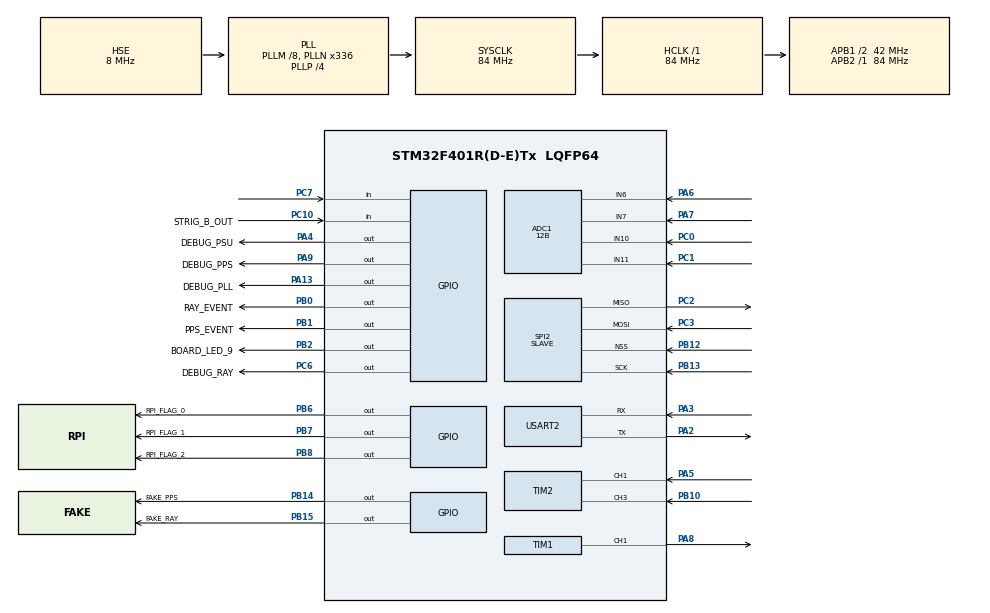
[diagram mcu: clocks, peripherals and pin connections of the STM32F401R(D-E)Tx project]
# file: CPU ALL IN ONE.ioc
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ADC1.Channel-0\#ChannelRegularConversion=ADC_CHANNEL_10
ADC1.Channel-1\#ChannelRegularConversion=ADC_CHANNEL_11
ADC1.Channel-4\#ChannelInjectedConversion=ADC_CHANNEL_6
ADC1.Channel-5\#ChannelInjectedConversion=ADC_CHANNEL_7
ADC1.ClockPrescaler=ADC_CLOCK_SYNC_PCLK_DIV4
ADC1.ContinuousConvMode=ENABLE
ADC1.DMAContinuousRequests=ENABLE
ADC1.DataAlign=ADC_DATAALIGN_RIGHT
ADC1.DiscontinuousConvMode=DISABLE
ADC1.EOCSelection=ADC_EOC_SINGLE_CONV
ADC1.EnableAnalogWatchDog=false
ADC1.ExternalTrigConv=ADC_SOFTWARE_START
ADC1.ExternalTrigConvEdge=ADC_EXTERNALTRIGCONVEDGE_NONE
ADC1.ExternalTrigInjecConv=ADC_INJECTED_SOFTWARE_START
ADC1.ExternalTrigInjecConvEdge=ADC_EXTERNALTRIGINJECCONVEDGE_NONE
ADC1.InjNumberOfConversion=2
ADC1.InjectedConvMode=None
ADC1.InjectedOffset-4\#ChannelInjectedConversion=0
ADC1.InjectedOffset-5\#ChannelInjectedConversion=0
ADC1.NbrOfConversion=2
ADC1.NbrOfConversionFlag=1
ADC1.Rank-0\#ChannelRegularConversion=1
ADC1.Rank-1\#ChannelRegularConversion=2
ADC1.Rank-4\#ChannelInjectedConversion=1
ADC1.Rank-5\#ChannelInjectedConversion=2
ADC1.Resolution=ADC_RESOLUTION_12B
ADC1.SamplingTime-0\#ChannelRegularConversion=ADC_SAMPLETIME_480CYCLES
ADC1.SamplingTime-1\#ChannelRegularConversion=ADC_SAMPLETIME_480CYCLES
ADC1.SamplingTime-4\#ChannelInjectedConversion=ADC_SAMPLETIME_480CYCLES
ADC1.SamplingTime-5\#ChannelInjectedConversion=ADC_SAMPLETIME_480CYCLES
ADC1.ScanConvMode=ENABLE
ADC1.master=1
Dma.ADC1.2.Direction=DMA_PERIPH_TO_MEMORY
Dma.ADC1.2.FIFOMode=DMA_FIFOMODE_DISABLE
Dma.ADC1.2.Instance=DMA2_Stream0
Dma.ADC1.2.MemDataAlignment=DMA_MDATAALIGN_HALFWORD
Dma.ADC1.2.MemInc=DMA_MINC_ENABLE
Dma.ADC1.2.Mode=DMA_NORMAL
Dma.ADC1.2.PeriphDataAlignment=DMA_PDATAALIGN_HALFWORD
Dma.ADC1.2.PeriphInc=DMA_PINC_DISABLE
Dma.ADC1.2.Priority=DMA_PRIORITY_LOW
Dma.Request0=SPI2_RX
Dma.Request1=SPI2_TX
Dma.Request2=ADC1
Dma.SPI2_RX.0.Direction=DMA_PERIPH_TO_MEMORY
Dma.SPI2_RX.0.FIFOMode=DMA_FIFOMODE_DISABLE
Dma.SPI2_RX.0.Instance=DMA1_Stream3
Dma.SPI2_RX.0.MemDataAlignment=DMA_MDATAALIGN_HALFWORD
Dma.SPI2_RX.0.MemInc=DMA_MINC_ENABLE
Dma.SPI2_RX.0.Mode=DMA_NORMAL
Dma.SPI2_RX.0.PeriphDataAlignment=DMA_PDATAALIGN_HALFWORD
Dma.SPI2_RX.0.PeriphInc=DMA_PINC_DISABLE
Dma.SPI2_RX.0.Priority=DMA_PRIORITY_LOW
Dma.SPI2_TX.1.Direction=DMA_MEMORY_TO_PERIPH
Dma.SPI2_TX.1.FIFOMode=DMA_FIFOMODE_DISABLE
Dma.SPI2_TX.1.Instance=DMA1_Stream4
Dma.SPI2_TX.1.MemDataAlignment=DMA_MDATAALIGN_HALFWORD
Dma.SPI2_TX.1.MemInc=DMA_MINC_ENABLE
Dma.SPI2_TX.1.Mode=DMA_NORMAL
Dma.SPI2_TX.1.PeriphDataAlignment=DMA_PDATAALIGN_HALFWORD
Dma.SPI2_TX.1.PeriphInc=DMA_PINC_DISABLE
Dma.SPI2_TX.1.Priority=DMA_PRIORITY_LOW
Mcu.Family=STM32F4
Mcu.Name=STM32F401R(D-E)Tx
Mcu.Package=LQFP64
NVIC.ADC_IRQn=true\:0\:0\:false\:false\:true\:true
NVIC.DMA1_Stream3_IRQn=true\:0\:0\:false\:false\:true\:false
NVIC.DMA1_Stream4_IRQn=true\:0\:0\:false\:false\:true\:false
NVIC.DMA2_Stream0_IRQn=true\:0\:0\:false\:false\:true\:false
NVIC.PriorityGroup=NVIC_PRIORITYGROUP_4
NVIC.TIM2_IRQn=true\:0\:0\:false\:false\:true\:true
PA13.GPIO_Label=DEBUG_PLL
PA13.Signal=GPIO_Output
PA2.Mode=Asynchronous
PA2.Signal=USART2_TX
PA3.Mode=Asynchronous
PA3.Signal=USART2_RX
PA4.GPIO_Label=DEBUG_PSU
PA4.Signal=GPIO_Output
PA5.Signal=S_TIM2_CH1_ETR
PA6.Signal=ADCx_IN6
PA7.Signal=ADCx_IN7
PA8.Signal=S_TIM1_CH1
PA9.GPIO_Label=DEBUG_PPS
PA9.Signal=GPIO_Output
PB0.GPIO_Label=RAY_EVENT
PB0.Signal=GPIO_Output
PB1.GPIO_Label=PPS_EVENT
PB1.Signal=GPIO_Output
PB10.Signal=S_TIM2_CH3
PB12.Mode=NSS_Signal_Hard_Input
PB12.Signal=SPI2_NSS
PB13.Mode=Full_Duplex_Slave
PB13.Signal=SPI2_SCK
PB14.GPIO_Label=FAKE_PPS
PB14.Signal=GPIO_Output
PB15.GPIO_Label=FAKE_RAY
PB15.Signal=GPIO_Output
PB2.GPIO_Label=BOARD_LED_9
PB2.Signal=GPIO_Output
PB6.GPIO_Label=RPI_FLAG_0
PB6.Signal=GPIO_Output
PB7.GPIO_Label=RPI_FLAG_1
PB7.Signal=GPIO_Output
PB8.GPIO_Label=RPI_FLAG_2
PB8.Signal=GPIO_Output
PC0.Signal=ADCx_IN10
PC1.Signal=ADCx_IN11
PC10.GPIO_Label=STRIG_B_OUT
PC10.Signal=GPIO_Input
PC14-OSC32_IN.Mode=LSE-External-Oscillator
PC14-OSC32_IN.Signal=RCC_OSC32_IN
PC15-OSC32_OUT.Mode=LSE-External-Oscillator
PC15-OSC32_OUT.Signal=RCC_OSC32_OUT
PC2.Mode=Full_Duplex_Slave
PC2.Signal=SPI2_MISO
PC3.Mode=Full_Duplex_Slave
PC3.Signal=SPI2_MOSI
PC6.GPIO_Label=DEBUG_RAY
PC6.Signal=GPIO_Output
PC7.Signal=GPIO_Input
PH0\ -\ OSC_IN.Mode=HSE-External-Clock-Source
PH0\ -\ OSC_IN.Signal=RCC_OSC_IN
PH1\ -\ OSC_OUT.Mode=HSE-External-Clock-Source
PH1\ -\ OSC_OUT.Signal=RCC_OSC_OUT
ProjectManager.HeapSize=0x200
ProjectManager.StackSize=0x400
ProjectManager.TargetToolchain=SW4STM32
RCC.48MHZClocksFreq_Value=84000000
RCC.AHBFreq_Value=84000000
RCC.APB1CLKDivider=RCC_HCLK_DIV2
RCC.APB1Freq_Value=42000000
RCC.APB1TimFreq_Value=84000000
RCC.APB2Freq_Value=84000000
RCC.APB2TimFreq_Value=84000000
RCC.CortexFreq_Value=84000000
RCC.HCLKFreq_Value=84000000
RCC.HSE_VALUE=8000000
RCC.HSI_VALUE=16000000
RCC.PLLM=8
RCC.PLLN=336
RCC.PLLP=RCC_PLLP_DIV4
RCC.PLLSourceVirtual=RCC_PLLSOURCE_HSE
RCC.SYSCLKFreq_VALUE=84000000
RCC.SYSCLKSource=RCC_SYSCLKSOURCE_PLLCLK
RCC.VCOOutputFreq_Value=336000000
SH.ADCx_IN10.0=ADC1_IN10,IN10
SH.ADCx_IN11.0=ADC1_IN11,IN11
SH.ADCx_IN6.0=ADC1_IN6,IN6
SH.ADCx_IN7.0=ADC1_IN7,IN7
SH.S_TIM1_CH1.0=TIM1_CH1,PWM Generation1 CH1
SH.S_TIM2_CH1_ETR.0=TIM2_CH1,Input_Capture1_from_TI1
SH.S_TIM2_CH3.0=TIM2_CH3,Input_Capture3_from_TI3
SPI2.DataSize=SPI_DATASIZE_16BIT
SPI2.Direction=SPI_DIRECTION_2LINES
SPI2.Mode=SPI_MODE_SLAVE
SPI2.VirtualNSS=VM_NSSHARD
SPI2.VirtualType=VM_SLAVE
TIM1.Channel-PWM\ Generation1\ CH1=TIM_CHANNEL_1
TIM2.Channel-Input_Capture1_from_TI1=TIM_CHANNEL_1
TIM2.Channel-Input_Capture3_from_TI3=TIM_CHANNEL_3
TIM2.Channel-Output\ Compare2\ No\ Output=TIM_CHANNEL_2
TIM2.Channel-Output\ Compare4\ No\ Output=TIM_CHANNEL_4
USART2.VirtualMode=VM_ASYNC
VP_TIM1_VS_ClockSourceINT.Mode=Internal
VP_TIM2_VS_no_output2.Mode=Output Compare2 No Output
VP_TIM2_VS_no_output4.Mode=Output Compare4 No Output
board=CPU ALL IN ONE

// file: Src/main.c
/**
  ******************************************************************************
  * @file           : main.c
  * @brief          : Main program body
  ******************************************************************************
  ** This notice applies to any and all portions of this file
  * that are not between comment pairs USER CODE BEGIN and
  * USER CODE END. Other portions of this file, whether
  * inserted by the user or by software development tools
  * are owned by their respective copyright owners.
  *
  * COPYRIGHT(c) 2018 STMicroelectronics
  *
  * Redistribution and use in source and binary forms, with or without modification,
  * are permitted provided that the following conditions are met:
  *   1. Redistributions of source code must retain the above copyright notice,
  *      this list of conditions and the following disclaimer.
  *   2. Redistributions in binary form must reproduce the above copyright notice,
  *      this list of conditions and the following disclaimer in the documentation
  *      and/or other materials provided with the distribution.
  *   3. Neither the name of STMicroelectronics nor the names of its contributors
  *      may be used to endorse or promote products derived from this software
  *      without specific prior written permission.
  *
  * THIS SOFTWARE IS PROVIDED BY THE COPYRIGHT HOLDERS AND CONTRIBUTORS "AS IS"
  * AND ANY EXPRESS OR IMPLIED WARRANTIES, INCLUDING, BUT NOT LIMITED TO, THE
  * IMPLIED WARRANTIES OF MERCHANTABILITY AND FITNESS FOR A PARTICULAR PURPOSE ARE
  * DISCLAIMED. IN NO EVENT SHALL THE COPYRIGHT HOLDER OR CONTRIBUTORS BE LIABLE
  * FOR ANY DIRECT, INDIRECT, INCIDENTAL, SPECIAL, EXEMPLARY, OR CONSEQUENTIAL
  * DAMAGES (INCLUDING, BUT NOT LIMITED TO, PROCUREMENT OF SUBSTITUTE GOODS OR
  * SERVICES; LOSS OF USE, DATA, OR PROFITS; OR BUSINESS INTERRUPTION) HOWEVER
  * CAUSED AND ON ANY THEORY OF LIABILITY, WHETHER IN CONTRACT, STRICT LIABILITY,
  * OR TORT (INCLUDING NEGLIGENCE OR OTHERWISE) ARISING IN ANY WAY OUT OF THE USE
  * OF THIS SOFTWARE, EVEN IF ADVISED OF THE POSSIBILITY OF SUCH DAMAGE.
  *
  ******************************************************************************
  */
#include "main.h"
#include "stm32f4xx_hal.h"

ADC_HandleTypeDef hadc1;
DMA_HandleTypeDef hdma_adc1;

SPI_HandleTypeDef hspi2;
DMA_HandleTypeDef hdma_spi2_rx;
DMA_HandleTypeDef hdma_spi2_tx;

TIM_HandleTypeDef htim1;
TIM_HandleTypeDef htim2;

UART_HandleTypeDef huart2;

/* USER CODE BEGIN PV */
/* Private variables ---------------------------------------------------------*/

uint16_t ADC_SIPM_VALUES[2]; //ADC Readings
uint16_t ADC_FEEDBACK_VOLTAGE_VALUES[2]; //ADC Readings

uint16_t SPI_tx[1]; //SPI Writings
uint16_t SPI_rx[1]; //SPI Readings

//uint16_t duty_cycle_LED = 50;

uint16_t duty_cycle_LED = 0;

//uint32_t duty_cycle_channel_A = 56;
uint32_t duty_cycle_channel_A = 30;

//uint32_t duty_cycle_channel_B = 56;
uint32_t duty_cycle_channel_B = 30;
uint32_t temp_MSB = 0;

uint8_t enable_channel_A = 0;
uint8_t enable_channel_B = 0;

uint8_t enable_channels = 0;

//uint32_t HV_PWM_frequency = 280;
uint32_t HV_PWM_frequency = 400;

uint8_t spi_transmit_receive;

uint16_t spi_received_value;
uint8_t spi_began = 0;
uint8_t state = 1;

uint16_t ack = 0;
uint16_t command = 0;
uint8_t command_treated = 0;
uint16_t data = 0;
uint8_t is_a_command = 1;

uint8_t adc_regular_completed=0; //ADC Readings

char buffer[32];

/* USER CODE END PV */

void SystemClock_Config(void);
static void MX_GPIO_Init(void);
static void MX_DMA_Init(void);
static void MX_ADC1_Init(void);
static void MX_SPI2_Init(void);
static void MX_TIM2_Init(void);
static void MX_USART2_UART_Init(void);
static void MX_TIM1_Init(void);

void HAL_TIM_MspPostInit(TIM_HandleTypeDef *htim);

/* USER CODE BEGIN PFP */
/* Private function prototypes -----------------------------------------------*/

/* USER CODE END PFP */

int main(void)
{

  /* MCU Configuration----------------------------------------------------------*/

  /* Reset of all peripherals, Initializes the Flash interface and the Systick. */
  HAL_Init();

  /* Configure the system clock */
  SystemClock_Config();

  /* Initialize all configured peripherals */
  MX_GPIO_Init();
  MX_DMA_Init();
  MX_ADC1_Init();
  MX_SPI2_Init();
  MX_TIM2_Init();
  MX_USART2_UART_Init();
  MX_TIM1_Init();
  /* USER CODE BEGIN 2 */

  	/****** PWM for LED CALIBRATION *******/
  // Set the period
  __HAL_TIM_SET_AUTORELOAD(&htim1, 50000);
  // Set the prescaler
  __HAL_TIM_SET_PRESCALER(&htim1, 168-1);
  // Set the duty cycle
  __HAL_TIM_SET_COMPARE(&htim1, TIM_CHANNEL_1, duty_cycle_LED);

  if (HAL_TIM_Base_Start(&htim1) != HAL_OK)
  {
    _Error_Handler(__FILE__, __LINE__);
  }

  if (HAL_TIM_PWM_Start(&htim1,TIM_CHANNEL_1) != HAL_OK)
  {
	_Error_Handler(__FILE__, __LINE__);
  }

  	/**********************  Init Input Capture Timer Stuff   **********************************/
    __HAL_TIM_SET_AUTORELOAD(&htim2, 0xFFFFFFFF);
    __HAL_TIM_SET_COMPARE(&htim2, TIM_CHANNEL_2,  T_5_MINUTES);

    __HAL_TIM_SET_COMPARE(&htim2, TIM_CHANNEL_4,  T_5_MINUTES);

    if (HAL_TIM_IC_Start_IT(&htim2, TIM_CHANNEL_1) != HAL_OK)
    {
        _Error_Handler(__FILE__, __LINE__);
    }

    if (HAL_TIM_IC_Start_IT(&htim2, TIM_CHANNEL_3) != HAL_OK)
    {
        _Error_Handler(__FILE__, __LINE__);
    }

    /**********************  Init Timer Compare Stuff   **********************************/
    if (HAL_TIM_OC_Start_IT(&htim2, TIM_CHANNEL_2) != HAL_OK)
    {
        _Error_Handler(__FILE__, __LINE__);
    }

    if (HAL_TIM_OC_Start_IT(&htim2, TIM_CHANNEL_4) != HAL_OK)
    {
        _Error_Handler(__FILE__, __LINE__);
    }

    /**********************  Init SPI DMA Stuff   **********************************/
    SPI_tx[0] = 255;

    if(HAL_SPI_TransmitReceive_DMA(&hspi2, (uint16_t*)&SPI_tx, (uint16_t*)&SPI_rx, 1) != HAL_OK)
    {
        /* Transfer error in transmission process */
        Error_Handler();
    }

    while (HAL_SPI_GetState(&hspi2) != HAL_SPI_STATE_READY)
     {
     }

    /**********************  Init ADC DMA Stuff   **********************************/
    //HAL_ADC_Start_IT(&hadc1);
    HAL_ADC_Start(&hadc1);
    HAL_ADC_Start_DMA(&hadc1, (uint32_t*) ADC_SIPM_VALUES, 20);

  /* USER CODE END 2 */

  /* Infinite loop */
  /* USER CODE BEGIN WHILE */
  while (1)
  {
	  /*
		HAL_GPIO_TogglePin(GPIOB, GPIO_PIN_14);
		HAL_GPIO_TogglePin(GPIOB, GPIO_PIN_15);
		HAL_Delay(1000);
*/

	  if(adc_regular_completed){
		  adc_regular_completed = 0;

			snprintf(buffer, 32, "value %d", ADC_SIPM_VALUES[0]);
			debugPrintln(&huart2, buffer);

			snprintf(buffer, 32, "value %d", ADC_SIPM_VALUES[1]);
			debugPrintln(&huart2, buffer);

			snprintf(buffer, 32, "value %d", ADC_SIPM_VALUES[2]);
			debugPrintln(&huart2, buffer);

			debugPrintln(&huart2, "");
		    HAL_ADC_Start(&hadc1);
		    HAL_ADC_Start_DMA(&hadc1, (uint32_t*) ADC_SIPM_VALUES, 20);

	  }
	  run_fsm();
  /* USER CODE END WHILE */

  }

}

void SystemClock_Config(void)
{

  RCC_OscInitTypeDef RCC_OscInitStruct;
  RCC_ClkInitTypeDef RCC_ClkInitStruct;

    /**Configure the main internal regulator output voltage
    */
  __HAL_RCC_PWR_CLK_ENABLE();

  __HAL_PWR_VOLTAGESCALING_CONFIG(PWR_REGULATOR_VOLTAGE_SCALE2);

    /**Initializes the CPU, AHB and APB busses clocks
    */
  RCC_OscInitStruct.OscillatorType = RCC_OSCILLATORTYPE_HSE;
  RCC_OscInitStruct.HSEState = RCC_HSE_BYPASS;
  RCC_OscInitStruct.PLL.PLLState = RCC_PLL_ON;
  RCC_OscInitStruct.PLL.PLLSource = RCC_PLLSOURCE_HSE;
  RCC_OscInitStruct.PLL.PLLM = 8;
  RCC_OscInitStruct.PLL.PLLN = 336;
  RCC_OscInitStruct.PLL.PLLP = RCC_PLLP_DIV4;
  RCC_OscInitStruct.PLL.PLLQ = 4;
  if (HAL_RCC_OscConfig(&RCC_OscInitStruct) != HAL_OK)
  {
    _Error_Handler(__FILE__, __LINE__);
  }

    /**Initializes the CPU, AHB and APB busses clocks
    */
  RCC_ClkInitStruct.ClockType = RCC_CLOCKTYPE_HCLK|RCC_CLOCKTYPE_SYSCLK
                              |RCC_CLOCKTYPE_PCLK1|RCC_CLOCKTYPE_PCLK2;
  RCC_ClkInitStruct.SYSCLKSource = RCC_SYSCLKSOURCE_PLLCLK;
  RCC_ClkInitStruct.AHBCLKDivider = RCC_SYSCLK_DIV1;
  RCC_ClkInitStruct.APB1CLKDivider = RCC_HCLK_DIV2;
  RCC_ClkInitStruct.APB2CLKDivider = RCC_HCLK_DIV1;

  if (HAL_RCC_ClockConfig(&RCC_ClkInitStruct, FLASH_LATENCY_2) != HAL_OK)
  {
    _Error_Handler(__FILE__, __LINE__);
  }

    /**Configure the Systick interrupt time
    */
  HAL_SYSTICK_Config(HAL_RCC_GetHCLKFreq()/1000);

    /**Configure the Systick
    */
  HAL_SYSTICK_CLKSourceConfig(SYSTICK_CLKSOURCE_HCLK);

  /* SysTick_IRQn interrupt configuration */
  HAL_NVIC_SetPriority(SysTick_IRQn, 0, 0);
}

/* ADC1 init function */
static void MX_ADC1_Init(void)
{

  ADC_ChannelConfTypeDef sConfig;
  ADC_InjectionConfTypeDef sConfigInjected;

    /**Configure the global features of the ADC (Clock, Resolution, Data Alignment and number of conversion)
    */
  hadc1.Instance = ADC1;
  hadc1.Init.ClockPrescaler = ADC_CLOCK_SYNC_PCLK_DIV4;
  hadc1.Init.Resolution = ADC_RESOLUTION_12B;
  hadc1.Init.ScanConvMode = ENABLE;
  hadc1.Init.ContinuousConvMode = ENABLE;
  hadc1.Init.DiscontinuousConvMode = DISABLE;
  hadc1.Init.ExternalTrigConvEdge = ADC_EXTERNALTRIGCONVEDGE_NONE;
  hadc1.Init.ExternalTrigConv = ADC_SOFTWARE_START;
  hadc1.Init.DataAlign = ADC_DATAALIGN_RIGHT;
  hadc1.Init.NbrOfConversion = 2;
  hadc1.Init.DMAContinuousRequests = ENABLE;
  hadc1.Init.EOCSelection = ADC_EOC_SINGLE_CONV;
  if (HAL_ADC_Init(&hadc1) != HAL_OK)
  {
    _Error_Handler(__FILE__, __LINE__);
  }

    /**Configure for the selected ADC regular channel its corresponding rank in the sequencer and its sample time.
    */
  sConfig.Channel = ADC_CHANNEL_10;
  sConfig.Rank = 1;
  sConfig.SamplingTime = ADC_SAMPLETIME_480CYCLES;
  if (HAL_ADC_ConfigChannel(&hadc1, &sConfig) != HAL_OK)
  {
    _Error_Handler(__FILE__, __LINE__);
  }

    /**Configure for the selected ADC regular channel its corresponding rank in the sequencer and its sample time.
    */
  sConfig.Channel = ADC_CHANNEL_11;
  sConfig.Rank = 2;
  if (HAL_ADC_ConfigChannel(&hadc1, &sConfig) != HAL_OK)
  {
    _Error_Handler(__FILE__, __LINE__);
  }

    /**Configures for the selected ADC injected channel its corresponding rank in the sequencer and its sample time
    */
  sConfigInjected.InjectedChannel = ADC_CHANNEL_6;
  sConfigInjected.InjectedRank = 1;
  sConfigInjected.InjectedNbrOfConversion = 2;
  sConfigInjected.InjectedSamplingTime = ADC_SAMPLETIME_480CYCLES;
  sConfigInjected.ExternalTrigInjecConvEdge = ADC_EXTERNALTRIGINJECCONVEDGE_NONE;
  sConfigInjected.ExternalTrigInjecConv = ADC_INJECTED_SOFTWARE_START;
  sConfigInjected.AutoInjectedConv = DISABLE;
  sConfigInjected.InjectedDiscontinuousConvMode = DISABLE;
  sConfigInjected.InjectedOffset = 0;
  if (HAL_ADCEx_InjectedConfigChannel(&hadc1, &sConfigInjected) != HAL_OK)
  {
    _Error_Handler(__FILE__, __LINE__);
  }

    /**Configures for the selected ADC injected channel its corresponding rank in the sequencer and its sample time
    */
  sConfigInjected.InjectedChannel = ADC_CHANNEL_7;
  sConfigInjected.InjectedRank = 2;
  if (HAL_ADCEx_InjectedConfigChannel(&hadc1, &sConfigInjected) != HAL_OK)
  {
    _Error_Handler(__FILE__, __LINE__);
  }

}

/* SPI2 init function */
static void MX_SPI2_Init(void)
{

  /* SPI2 parameter configuration*/
  hspi2.Instance = SPI2;
  hspi2.Init.Mode = SPI_MODE_SLAVE;
  hspi2.Init.Direction = SPI_DIRECTION_2LINES;
  hspi2.Init.DataSize = SPI_DATASIZE_16BIT;
  hspi2.Init.CLKPolarity = SPI_POLARITY_LOW;
  hspi2.Init.CLKPhase = SPI_PHASE_1EDGE;
  hspi2.Init.NSS = SPI_NSS_HARD_INPUT;
  hspi2.Init.FirstBit = SPI_FIRSTBIT_MSB;
  hspi2.Init.TIMode = SPI_TIMODE_DISABLE;
  hspi2.Init.CRCCalculation = SPI_CRCCALCULATION_DISABLE;
  hspi2.Init.CRCPolynomial = 10;
  if (HAL_SPI_Init(&hspi2) != HAL_OK)
  {
    _Error_Handler(__FILE__, __LINE__);
  }

}

/* TIM1 init function */
static void MX_TIM1_Init(void)
{

  TIM_ClockConfigTypeDef sClockSourceConfig;
  TIM_MasterConfigTypeDef sMasterConfig;
  TIM_OC_InitTypeDef sConfigOC;
  TIM_BreakDeadTimeConfigTypeDef sBreakDeadTimeConfig;

  htim1.Instance = TIM1;
  htim1.Init.Prescaler = 0;
  htim1.Init.CounterMode = TIM_COUNTERMODE_UP;
  htim1.Init.Period = 0;
  htim1.Init.ClockDivision = TIM_CLOCKDIVISION_DIV1;
  htim1.Init.RepetitionCounter = 0;
  if (HAL_TIM_Base_Init(&htim1) != HAL_OK)
  {
    _Error_Handler(__FILE__, __LINE__);
  }

  sClockSourceConfig.ClockSource = TIM_CLOCKSOURCE_INTERNAL;
  if (HAL_TIM_ConfigClockSource(&htim1, &sClockSourceConfig) != HAL_OK)
  {
    _Error_Handler(__FILE__, __LINE__);
  }

  if (HAL_TIM_PWM_Init(&htim1) != HAL_OK)
  {
    _Error_Handler(__FILE__, __LINE__);
  }

  sMasterConfig.MasterOutputTrigger = TIM_TRGO_RESET;
  sMasterConfig.MasterSlaveMode = TIM_MASTERSLAVEMODE_DISABLE;
  if (HAL_TIMEx_MasterConfigSynchronization(&htim1, &sMasterConfig) != HAL_OK)
  {
    _Error_Handler(__FILE__, __LINE__);
  }

  sConfigOC.OCMode = TIM_OCMODE_PWM1;
  sConfigOC.Pulse = 0;
  sConfigOC.OCPolarity = TIM_OCPOLARITY_HIGH;
  sConfigOC.OCNPolarity = TIM_OCNPOLARITY_HIGH;
  sConfigOC.OCFastMode = TIM_OCFAST_DISABLE;
  sConfigOC.OCIdleState = TIM_OCIDLESTATE_RESET;
  sConfigOC.OCNIdleState = TIM_OCNIDLESTATE_RESET;
  if (HAL_TIM_PWM_ConfigChannel(&htim1, &sConfigOC, TIM_CHANNEL_1) != HAL_OK)
  {
    _Error_Handler(__FILE__, __LINE__);
  }

  sBreakDeadTimeConfig.OffStateRunMode = TIM_OSSR_DISABLE;
  sBreakDeadTimeConfig.OffStateIDLEMode = TIM_OSSI_DISABLE;
  sBreakDeadTimeConfig.LockLevel = TIM_LOCKLEVEL_OFF;
  sBreakDeadTimeConfig.DeadTime = 0;
  sBreakDeadTimeConfig.BreakState = TIM_BREAK_DISABLE;
  sBreakDeadTimeConfig.BreakPolarity = TIM_BREAKPOLARITY_HIGH;
  sBreakDeadTimeConfig.AutomaticOutput = TIM_AUTOMATICOUTPUT_DISABLE;
  if (HAL_TIMEx_ConfigBreakDeadTime(&htim1, &sBreakDeadTimeConfig) != HAL_OK)
  {
    _Error_Handler(__FILE__, __LINE__);
  }

  HAL_TIM_MspPostInit(&htim1);

}

/* TIM2 init function */
static void MX_TIM2_Init(void)
{

  TIM_MasterConfigTypeDef sMasterConfig;
  TIM_IC_InitTypeDef sConfigIC;
  TIM_OC_InitTypeDef sConfigOC;

  htim2.Instance = TIM2;
  htim2.Init.Prescaler = 0;
  htim2.Init.CounterMode = TIM_COUNTERMODE_UP;
  htim2.Init.Period = 0;
  htim2.Init.ClockDivision = TIM_CLOCKDIVISION_DIV1;
  if (HAL_TIM_IC_Init(&htim2) != HAL_OK)
  {
    _Error_Handler(__FILE__, __LINE__);
  }

  if (HAL_TIM_OC_Init(&htim2) != HAL_OK)
  {
    _Error_Handler(__FILE__, __LINE__);
  }

  sMasterConfig.MasterOutputTrigger = TIM_TRGO_RESET;
  sMasterConfig.MasterSlaveMode = TIM_MASTERSLAVEMODE_DISABLE;
  if (HAL_TIMEx_MasterConfigSynchronization(&htim2, &sMasterConfig) != HAL_OK)
  {
    _Error_Handler(__FILE__, __LINE__);
  }

  sConfigIC.ICPolarity = TIM_INPUTCHANNELPOLARITY_RISING;
  sConfigIC.ICSelection = TIM_ICSELECTION_DIRECTTI;
  sConfigIC.ICPrescaler = TIM_ICPSC_DIV1;
  sConfigIC.ICFilter = 0;
  if (HAL_TIM_IC_ConfigChannel(&htim2, &sConfigIC, TIM_CHANNEL_1) != HAL_OK)
  {
    _Error_Handler(__FILE__, __LINE__);
  }

  sConfigOC.OCMode = TIM_OCMODE_TIMING;
  sConfigOC.Pulse = 0;
  sConfigOC.OCPolarity = TIM_OCPOLARITY_HIGH;
  sConfigOC.OCFastMode = TIM_OCFAST_DISABLE;
  if (HAL_TIM_OC_ConfigChannel(&htim2, &sConfigOC, TIM_CHANNEL_2) != HAL_OK)
  {
    _Error_Handler(__FILE__, __LINE__);
  }

  if (HAL_TIM_IC_ConfigChannel(&htim2, &sConfigIC, TIM_CHANNEL_3) != HAL_OK)
  {
    _Error_Handler(__FILE__, __LINE__);
  }

  if (HAL_TIM_OC_ConfigChannel(&htim2, &sConfigOC, TIM_CHANNEL_4) != HAL_OK)
  {
    _Error_Handler(__FILE__, __LINE__);
  }

}

/* USART2 init function */
static void MX_USART2_UART_Init(void)
{

  huart2.Instance = USART2;
  huart2.Init.BaudRate = 115200;
  huart2.Init.WordLength = UART_WORDLENGTH_8B;
  huart2.Init.StopBits = UART_STOPBITS_1;
  huart2.Init.Parity = UART_PARITY_NONE;
  huart2.Init.Mode = UART_MODE_TX_RX;
  huart2.Init.HwFlowCtl = UART_HWCONTROL_NONE;
  huart2.Init.OverSampling = UART_OVERSAMPLING_16;
  if (HAL_UART_Init(&huart2) != HAL_OK)
  {
    _Error_Handler(__FILE__, __LINE__);
  }

}

static void MX_DMA_Init(void)
{
  /* DMA controller clock enable */
  __HAL_RCC_DMA1_CLK_ENABLE();
  __HAL_RCC_DMA2_CLK_ENABLE();

  /* DMA interrupt init */
  /* DMA1_Stream3_IRQn interrupt configuration */
  HAL_NVIC_SetPriority(DMA1_Stream3_IRQn, 0, 0);
  HAL_NVIC_EnableIRQ(DMA1_Stream3_IRQn);
  /* DMA1_Stream4_IRQn interrupt configuration */
  HAL_NVIC_SetPriority(DMA1_Stream4_IRQn, 0, 0);
  HAL_NVIC_EnableIRQ(DMA1_Stream4_IRQn);
  /* DMA2_Stream0_IRQn interrupt configuration */
  HAL_NVIC_SetPriority(DMA2_Stream0_IRQn, 0, 0);
  HAL_NVIC_EnableIRQ(DMA2_Stream0_IRQn);

}

/** Configure pins as
        * Analog
        * Input
        * Output
        * EVENT_OUT
        * EXTI
*/
static void MX_GPIO_Init(void)
{

  GPIO_InitTypeDef GPIO_InitStruct;

  /* GPIO Ports Clock Enable */
  __HAL_RCC_GPIOC_CLK_ENABLE();
  __HAL_RCC_GPIOH_CLK_ENABLE();
  __HAL_RCC_GPIOA_CLK_ENABLE();
  __HAL_RCC_GPIOB_CLK_ENABLE();

  /*Configure GPIO pin Output Level */
  HAL_GPIO_WritePin(GPIOA, DEBUG_PSU_Pin|DEBUG_PPS_Pin|DEBUG_PLL_Pin, GPIO_PIN_RESET);

  /*Configure GPIO pin Output Level */
  HAL_GPIO_WritePin(GPIOB, RAY_EVENT_Pin|PPS_EVENT_Pin|BOARD_LED_9_Pin|FAKE_PPS_Pin
                          |FAKE_RAY_Pin|RPI_FLAG_0_Pin|RPI_FLAG_1_Pin|RPI_FLAG_2_Pin, GPIO_PIN_RESET);

  /*Configure GPIO pin Output Level */
  HAL_GPIO_WritePin(DEBUG_RAY_GPIO_Port, DEBUG_RAY_Pin, GPIO_PIN_RESET);

  /*Configure GPIO pins : DEBUG_PSU_Pin DEBUG_PPS_Pin DEBUG_PLL_Pin */
  GPIO_InitStruct.Pin = DEBUG_PSU_Pin|DEBUG_PPS_Pin|DEBUG_PLL_Pin;
  GPIO_InitStruct.Mode = GPIO_MODE_OUTPUT_PP;
  GPIO_InitStruct.Pull = GPIO_NOPULL;
  GPIO_InitStruct.Speed = GPIO_SPEED_FREQ_LOW;
  HAL_GPIO_Init(GPIOA, &GPIO_InitStruct);

  /*Configure GPIO pins : RAY_EVENT_Pin PPS_EVENT_Pin BOARD_LED_9_Pin FAKE_PPS_Pin
                           FAKE_RAY_Pin RPI_FLAG_0_Pin RPI_FLAG_1_Pin RPI_FLAG_2_Pin */
  GPIO_InitStruct.Pin = RAY_EVENT_Pin|PPS_EVENT_Pin|BOARD_LED_9_Pin|FAKE_PPS_Pin
                          |FAKE_RAY_Pin|RPI_FLAG_0_Pin|RPI_FLAG_1_Pin|RPI_FLAG_2_Pin;
  GPIO_InitStruct.Mode = GPIO_MODE_OUTPUT_PP;
  GPIO_InitStruct.Pull = GPIO_NOPULL;
  GPIO_InitStruct.Speed = GPIO_SPEED_FREQ_LOW;
  HAL_GPIO_Init(GPIOB, &GPIO_InitStruct);

  /*Configure GPIO pin : DEBUG_RAY_Pin */
  GPIO_InitStruct.Pin = DEBUG_RAY_Pin;
  GPIO_InitStruct.Mode = GPIO_MODE_OUTPUT_PP;
  GPIO_InitStruct.Pull = GPIO_NOPULL;
  GPIO_InitStruct.Speed = GPIO_SPEED_FREQ_LOW;
  HAL_GPIO_Init(DEBUG_RAY_GPIO_Port, &GPIO_InitStruct);

  /*Configure GPIO pins : PC7 STRIG_B_OUT_Pin */
  GPIO_InitStruct.Pin = GPIO_PIN_7|STRIG_B_OUT_Pin;
  GPIO_InitStruct.Mode = GPIO_MODE_INPUT;
  GPIO_InitStruct.Pull = GPIO_NOPULL;
  HAL_GPIO_Init(GPIOC, &GPIO_InitStruct);

}

/* USER CODE BEGIN 4 */

void run_fsm(void){

	  // Switch attention basИ sur la valeur recue, prИvoir un cas qui identifie si c value ou command

		  if (spi_transmit_receive == 1 ){

			  spi_transmit_receive = 0;

			  spi_received_value = SPI_rx[0];

			  if ((spi_began == 1) && (spi_received_value<19) && (is_a_command == 0)){
				  is_a_command = 0;
				  data = spi_received_value;
			  }else if ((spi_received_value > 0) && (spi_received_value < 19)){
				  command = spi_received_value;
				  is_a_command = 1;
			  }else{

				  is_a_command = 0;
				  data = spi_received_value;

				  if (spi_began == 0){
					  command = 0;
					  ack = 0;
					  //break;
				  }

			  }

				switch(command){

						// Set Duty cycle for the PWM of the LED
						case 1:

							if(is_a_command == 1){
								ack=command;
							}else{
								duty_cycle_LED = data;
								__HAL_TIM_SET_COMPARE(&htim1, TIM_CHANNEL_1, duty_cycle_LED);

								 ack=0;
							}

							break;

						// Get Duty cycle of the LED
						case 2:
								ack = __HAL_TIM_GET_COMPARE(&htim1, TIM_CHANNEL_1);

								break;

						// Get ADC value channel 1
						case 3:

							ack = ADC_SIPM_VALUES[9];

							break;

						// Get ADC value channel 2
						case 4:

							ack = ADC_SIPM_VALUES[19];

							break;

						case 5:

							ack = ADC_FEEDBACK_VOLTAGE_VALUES[0];

							break;

						case 6:

							ack = ADC_FEEDBACK_VOLTAGE_VALUES[1];

							break;

						default:
							break;

						}

/*
				snprintf(buffer, 32, "is a command %d", is_a_command);
				debugPrintln(&huart2, buffer);

				snprintf(buffer, 32, "data %d", data);
				debugPrintln(&huart2, buffer);

						snprintf(buffer, 32, "ack %d", ack);
						debugPrintln(&huart2, buffer);

						snprintf(buffer, 32, "cmd %d", command);
						debugPrintln(&huart2, buffer);

						debugPrintln(&huart2, "");
*/

						SPI_tx[0]=ack;
						spi_began = 1;
						is_a_command ^= 1;

					  while (HAL_SPI_GetState(&hspi2) != HAL_SPI_STATE_READY)
						{
						}

					  if(HAL_SPI_TransmitReceive_DMA(&hspi2, (uint16_t*)&SPI_tx, (uint16_t*)&SPI_rx, 1) != HAL_OK)
					   {
						   /* Transfer error in transmission process */
						   Error_Handler();
					   }

	  }
}

void debugPrintln(UART_HandleTypeDef *huart, char _out[]){
 HAL_UART_Transmit(huart, (uint8_t *) _out, strlen(_out), 10);
 char newline[2] = "\r\n";
 HAL_UART_Transmit(huart, (uint8_t *) newline, 2, 10);
}

/* USER CODE END 4 */

void _Error_Handler(char *file, int line)
{
  while(1)
  {
  }
}

/************************ (C) COPYRIGHT STMicroelectronics *****END OF FILE****/
